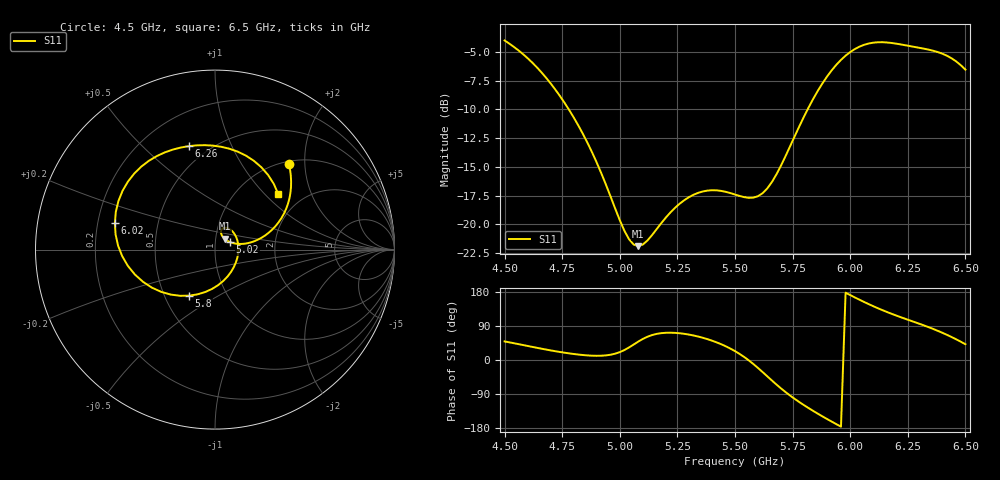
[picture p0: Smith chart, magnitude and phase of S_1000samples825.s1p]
! TOUCHSTONE file generated by CST MICROWAVE STUDIO
! Date and time: Sat Oct 29 12:41:05 2022
! Project name: L.cst
! Parameters = {Di=1.27; Epsilon_r=1.56; InnerDiameter=1.27; Length=2; Lf=10; Lg=60; OuterConductorThickness=0.2921; OuterDiameter=3.6; Wf=3; Wp=41.2; de=1.5; df=6.8; g=0.8; gx=0.866693; gy=1.2505; h=2.34; hf=1.524; px=11.1526; py=10.5395; w=9.7; wx=10.2859; wy=9.28904}
! Header version: 2018
! Port assignment regex: !\s*Touchstone port\s*([0-9]+)\s*=\s*(CST MWS port|CST DS port)\s*([0-9]+|Zmin|Zmax)\s*\(\"(.*)\"\)(\s*mode\s*([0-9]+))?.*
! Touchstone port assignment:
! Touchstone port 1 = CST MWS port 1 ("")
# GHz S DB R 50
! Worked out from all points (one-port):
!   101 points, 4.5 GHz to 6.5 GHz, reference 50 ohm
!   lowest |S11| = -21.9 dB at 5.08 GHz (marker M1), VSWR 1.18, Z = 55.2 + j6.7 ohm
!   |S11| at or under -10 dB: 4.778 GHz to 5.815 GHz (1.037 GHz wide, 19.6 % of centre)
!   S11 on the Smith chart (normalised r, x): 4.5 GHz: 1.06, +1.66; 5.02 GHz: 1.18, +0.10; 5.8 GHz: 0.66, -0.37; 6.02 GHz: 0.27, +0.12; 6.26 GHz: 0.39, +0.70; 6.5 GHz: 1.50, +1.21
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4.5  -4.02 49.0
4.62  -5.95 34.6
4.76  -9.43 19.3
4.88  -13.75 11.4
5  -19.63 20.8
5.02  -20.55 26.3
5.08  -21.88 48.5
5.26  -18.19 70.5
5.38  -17.06 55.1
5.5  -17.40 23.4
5.58  -17.67 -10.8
5.62  -17.28 -31.9
5.7  -14.87 -75.1
5.76  -12.30 -103.0
5.8  -10.61 -119.4
5.86  -8.38 -141.8
5.9  -7.14 -155.9
5.96  -5.71 -175.9
6  -5.03 171.3
6.02  -4.77 165.2
6.08  -4.29 147.6
6.14  -4.18 131.5
6.2  -4.30 117.2
6.26  -4.52 104.2
6.32  -4.74 91.3
6.38  -5.03 77.0
6.44  -5.57 60.6
6.5  -6.56 41.6
